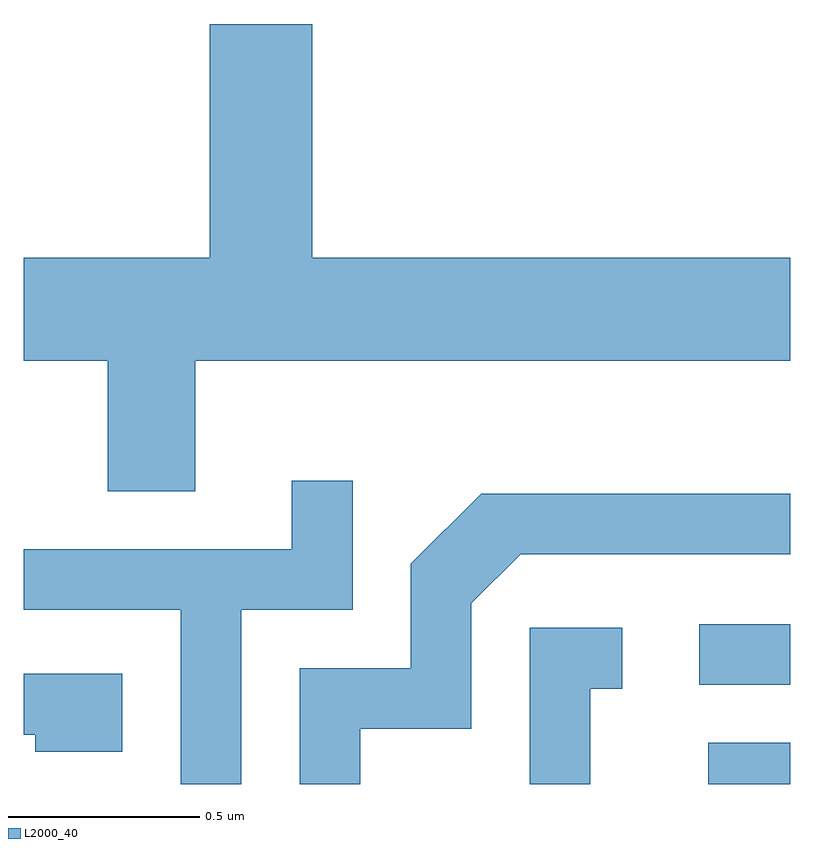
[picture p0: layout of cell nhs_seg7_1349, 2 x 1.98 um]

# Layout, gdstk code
import gdstk
lib = gdstk.Library(unit=1e-6, precision=1e-09)
def R(c, l, rs):  # rectangles x0, y0, x1, y1
    for r in rs: c.add(gdstk.rectangle(r[:2], r[2:], *l))
def P(c, l, *ps):  # polygons
    for p in ps: c.add(gdstk.Polygon(p, *l))
L2000_40 = (2000, 40)

nhs_seg7_1349 = lib.new_cell('nhs_seg7_1349')
R(nhs_seg7_1349, L2000_40, [(196.396,1784.252,196.611,1784.359), (196.373,1784.511,196.611,1784.669)])
P(nhs_seg7_1349, L2000_40, [(195.059,1785.356),(196.611,1785.356),(196.611,1785.624),(195.364,1785.624),(195.364,1786.234),(195.096,1786.234),(195.096,1785.624),(194.611,1785.624),(194.611,1785.356),(194.831,1785.356),(194.831,1785.016),(195.059,1785.016)],
  [(195.179,1784.706),(195.469,1784.706),(195.469,1785.043),(195.311,1785.043),(195.311,1784.864),(194.611,1784.864),(194.611,1784.706),(195.021,1784.706),(195.021,1784.252),(195.179,1784.252)],
  [(195.489,1784.396),(195.779,1784.396),(195.779,1784.724),(195.907,1784.851),(196.611,1784.851),(196.611,1785.009),(195.804,1785.009),(195.621,1784.827),(195.621,1784.554),(195.331,1784.554),(195.331,1784.252),(195.489,1784.252)],
  [(196.089,1784.501),(196.173,1784.501),(196.173,1784.659),(195.931,1784.659),(195.931,1784.252),(196.089,1784.252)],
  [(194.869,1784.539),(194.611,1784.539),(194.611,1784.381),(194.641,1784.381),(194.641,1784.336),(194.869,1784.336)])

lib.write_gds('nhs_seg7_1349.gds')
